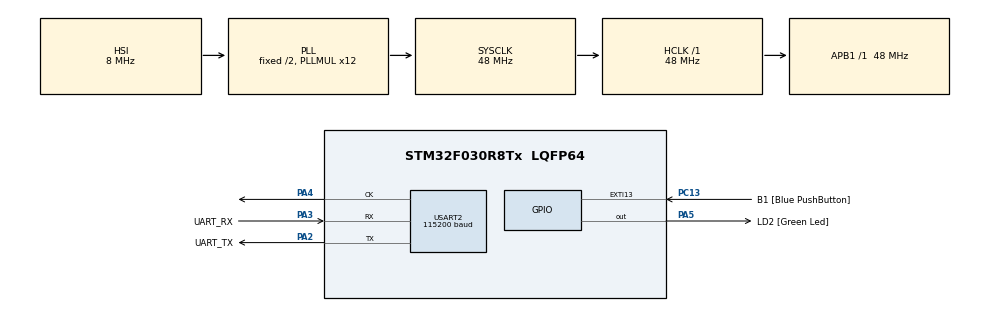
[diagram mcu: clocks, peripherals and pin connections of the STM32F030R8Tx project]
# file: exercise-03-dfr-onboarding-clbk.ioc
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Mcu.Family=STM32F0
Mcu.Name=STM32F030R8Tx
Mcu.Package=LQFP64
NVIC.TIM1_BRK_UP_TRG_COM_IRQn=true\:0\:0\:false\:false\:true\:true\:true\:true
NVIC.TIM1_CC_IRQn=true\:0\:0\:false\:false\:true\:true\:true\:true
NVIC.USART2_IRQn=true\:0\:0\:false\:false\:true\:true\:true\:true
PA13.GPIO_Label=TMS
PA13.Mode=Serial_Wire
PA13.Signal=SYS_SWDIO
PA14.GPIO_Label=TCK
PA14.Mode=Serial_Wire
PA14.Signal=SYS_SWCLK
PA2.GPIO_Label=UART_TX
PA2.Mode=Synchronous
PA2.Signal=USART2_TX
PA3.GPIO_Label=UART_RX
PA3.Mode=Synchronous
PA3.Signal=USART2_RX
PA4.Mode=Synchronous
PA4.Signal=USART2_CK
PA5.GPIO_Label=LD2 [Green Led]
PA5.GPIO_Mode=GPIO_MODE_OUTPUT_PP
PA5.GPIO_PuPd=GPIO_NOPULL
PA5.GPIO_Speed=GPIO_SPEED_FREQ_LOW
PA5.Signal=GPIO_Output
PC13.GPIO_Label=B1 [Blue PushButton]
PC13.GPIO_ModeDefaultEXTI=GPIO_MODE_IT_FALLING
PC13.Signal=GPXTI13
PC14-OSC32_IN.Mode=LSE-External-Oscillator
PC14-OSC32_IN.Signal=RCC_OSC32_IN
PC15-OSC32_OUT.Mode=LSE-External-Oscillator
PC15-OSC32_OUT.Signal=RCC_OSC32_OUT
PF0-OSC_IN.Mode=HSE-External-Clock-Source
PF0-OSC_IN.Signal=RCC_OSC_IN
PF1-OSC_OUT.Signal=RCC_OSC_OUT
ProjectManager.HeapSize=0x200
ProjectManager.StackSize=0x400
ProjectManager.TargetToolchain=Makefile
RCC.AHBFreq_Value=48000000
RCC.APB1Freq_Value=48000000
RCC.APB1TimFreq_Value=48000000
RCC.HCLKFreq_Value=48000000
RCC.PLLMUL=RCC_PLL_MUL12
RCC.SYSCLKFreq_VALUE=48000000
RCC.SYSCLKSource=RCC_SYSCLKSOURCE_PLLCLK
TIM1.AutoReloadPreload=TIM_AUTORELOAD_PRELOAD_ENABLE
TIM1.Period=9999
TIM1.Prescaler=24999
USART2.BaudRate=115200
USART2.VirtualMode-Synchronous=VM_SYNC
VP_TIM1_VS_ClockSourceINT.Mode=Internal
board=NUCLEO-F030R8

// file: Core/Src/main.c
/* USER CODE BEGIN Header */
/**
  ******************************************************************************
  * @file           : main.c
  * @brief          : Main program body
  ******************************************************************************
  * @attention
  *
  * Copyright (c) 2026 STMicroelectronics.
  * All rights reserved.
  *
  * This software is licensed under terms that can be found in the LICENSE file
  * in the root directory of this software component.
  * If no LICENSE file comes with this software, it is provided AS-IS.
  *
  ******************************************************************************
  */
/* USER CODE END Header */
#include "main.h"

/* USER CODE BEGIN Includes */
// #include "stm32f0xx_hal_conf.h"
/* USER CODE END Includes */

/* Private typedef -----------------`------------------------------------------*/

TIM_HandleTypeDef htim1;

USART_HandleTypeDef husart2;

/* USER CODE BEGIN PV */
GPIO_TypeDef* USER_LED_Port = GPIOA;
uint16_t USER_LED_Pin = GPIO_PIN_5;

uint8_t message[16] = "Period Elapsed\n\r";
FlagStatus periodElapsed = RESET;
/* USER CODE END PV */

void SystemClock_Config(void);
static void MX_GPIO_Init(void);
static void MX_USART2_Init(void);
static void MX_TIM1_Init(void);
/* USER CODE BEGIN PFP */
void User_UsartCompleteCallback(USART_HandleTypeDef *husart);
void User_TIMPeriodElapsedCallback(TIM_HandleTypeDef *htim);
/* USER CODE END PFP */

int main(void)
{

  /* MCU Configuration--------------------------------------------------------*/

  /* Reset of all peripherals, Initializes the Flash interface and the Systick. */
  HAL_Init();

  /* Configure the system clock */
  SystemClock_Config();

  /* Initialize all configured peripherals */
  MX_GPIO_Init();
  MX_USART2_Init();
  MX_TIM1_Init();
  /* USER CODE BEGIN 2 */
  HAL_USART_RegisterCallback(&husart2, HAL_USART_TX_COMPLETE_CB_ID, User_UsartCompleteCallback);
  HAL_TIM_RegisterCallback(&htim1, HAL_TIM_PERIOD_ELAPSED_CB_ID, User_TIMPeriodElapsedCallback);
  HAL_TIM_Base_Start_IT(&htim1);
  /* USER CODE END 2 */

  /* Infinite loop */
  /* USER CODE BEGIN WHILE */
  while (1)
  {
    if (periodElapsed == SET) {
      HAL_USART_Transmit_IT(&husart2, message, sizeof(message));
      periodElapsed = RESET;
    }
    /* USER CODE END WHILE */

  }
}

void SystemClock_Config(void)
{
  RCC_OscInitTypeDef RCC_OscInitStruct = {0};
  RCC_ClkInitTypeDef RCC_ClkInitStruct = {0};

  /** Initializes the RCC Oscillators according to the specified parameters
  * in the RCC_OscInitTypeDef structure.
  */
  RCC_OscInitStruct.OscillatorType = RCC_OSCILLATORTYPE_HSI;
  RCC_OscInitStruct.HSIState = RCC_HSI_ON;
  RCC_OscInitStruct.HSICalibrationValue = RCC_HSICALIBRATION_DEFAULT;
  RCC_OscInitStruct.PLL.PLLState = RCC_PLL_ON;
  RCC_OscInitStruct.PLL.PLLSource = RCC_PLLSOURCE_HSI;
  RCC_OscInitStruct.PLL.PLLMUL = RCC_PLL_MUL12;
  RCC_OscInitStruct.PLL.PREDIV = RCC_PREDIV_DIV1;
  if (HAL_RCC_OscConfig(&RCC_OscInitStruct) != HAL_OK)
  {
    Error_Handler();
  }

  /** Initializes the CPU, AHB and APB buses clocks
  */
  RCC_ClkInitStruct.ClockType = RCC_CLOCKTYPE_HCLK|RCC_CLOCKTYPE_SYSCLK
                              |RCC_CLOCKTYPE_PCLK1;
  RCC_ClkInitStruct.SYSCLKSource = RCC_SYSCLKSOURCE_PLLCLK;
  RCC_ClkInitStruct.AHBCLKDivider = RCC_SYSCLK_DIV1;
  RCC_ClkInitStruct.APB1CLKDivider = RCC_HCLK_DIV1;

  if (HAL_RCC_ClockConfig(&RCC_ClkInitStruct, FLASH_LATENCY_1) != HAL_OK)
  {
    Error_Handler();
  }
}

static void MX_TIM1_Init(void)
{

  TIM_ClockConfigTypeDef sClockSourceConfig = {0};
  TIM_MasterConfigTypeDef sMasterConfig = {0};

  htim1.Instance = TIM1;
  htim1.Init.Prescaler = 24999;
  htim1.Init.CounterMode = TIM_COUNTERMODE_UP;
  htim1.Init.Period = 9999;
  htim1.Init.ClockDivision = TIM_CLOCKDIVISION_DIV1;
  htim1.Init.RepetitionCounter = 0;
  htim1.Init.AutoReloadPreload = TIM_AUTORELOAD_PRELOAD_ENABLE;
  if (HAL_TIM_Base_Init(&htim1) != HAL_OK)
  {
    Error_Handler();
  }
  sClockSourceConfig.ClockSource = TIM_CLOCKSOURCE_INTERNAL;
  if (HAL_TIM_ConfigClockSource(&htim1, &sClockSourceConfig) != HAL_OK)
  {
    Error_Handler();
  }
  sMasterConfig.MasterOutputTrigger = TIM_TRGO_RESET;
  sMasterConfig.MasterSlaveMode = TIM_MASTERSLAVEMODE_DISABLE;
  if (HAL_TIMEx_MasterConfigSynchronization(&htim1, &sMasterConfig) != HAL_OK)
  {
    Error_Handler();
  }

}

static void MX_USART2_Init(void)
{

  husart2.Instance = USART2;
  husart2.Init.BaudRate = 115200;
  husart2.Init.WordLength = USART_WORDLENGTH_8B;
  husart2.Init.StopBits = USART_STOPBITS_1;
  husart2.Init.Parity = USART_PARITY_NONE;
  husart2.Init.Mode = USART_MODE_TX_RX;
  husart2.Init.CLKPolarity = USART_POLARITY_LOW;
  husart2.Init.CLKPhase = USART_PHASE_1EDGE;
  husart2.Init.CLKLastBit = USART_LASTBIT_DISABLE;
  if (HAL_USART_Init(&husart2) != HAL_OK)
  {
    Error_Handler();
  }

}

static void MX_GPIO_Init(void)
{
  GPIO_InitTypeDef GPIO_InitStruct = {0};

  /* GPIO Ports Clock Enable */
  __HAL_RCC_GPIOC_CLK_ENABLE();
  __HAL_RCC_GPIOF_CLK_ENABLE();
  __HAL_RCC_GPIOA_CLK_ENABLE();

  /*Configure GPIO pin Output Level */
  HAL_GPIO_WritePin(LD2_GPIO_Port, LD2_Pin, GPIO_PIN_RESET);

  /*Configure GPIO pin : B1_Pin */
  GPIO_InitStruct.Pin = B1_Pin;
  GPIO_InitStruct.Mode = GPIO_MODE_IT_FALLING;
  GPIO_InitStruct.Pull = GPIO_NOPULL;
  HAL_GPIO_Init(B1_GPIO_Port, &GPIO_InitStruct);

  /*Configure GPIO pin : LD2_Pin */
  GPIO_InitStruct.Pin = LD2_Pin;
  GPIO_InitStruct.Mode = GPIO_MODE_OUTPUT_PP;
  GPIO_InitStruct.Pull = GPIO_NOPULL;
  GPIO_InitStruct.Speed = GPIO_SPEED_FREQ_LOW;
  HAL_GPIO_Init(LD2_GPIO_Port, &GPIO_InitStruct);

}

/* USER CODE BEGIN 4 */
void User_UsartCompleteCallback(USART_HandleTypeDef *hsuart) {
  HAL_GPIO_TogglePin(USER_LED_Port, USER_LED_Pin);
}

void User_TIMPeriodElapsedCallback(TIM_HandleTypeDef *htim) {
  periodElapsed = SET;
}
/* USER CODE END 4 */

void Error_Handler(void)
{
  __disable_irq();
  while (1)
  {
  }
}
